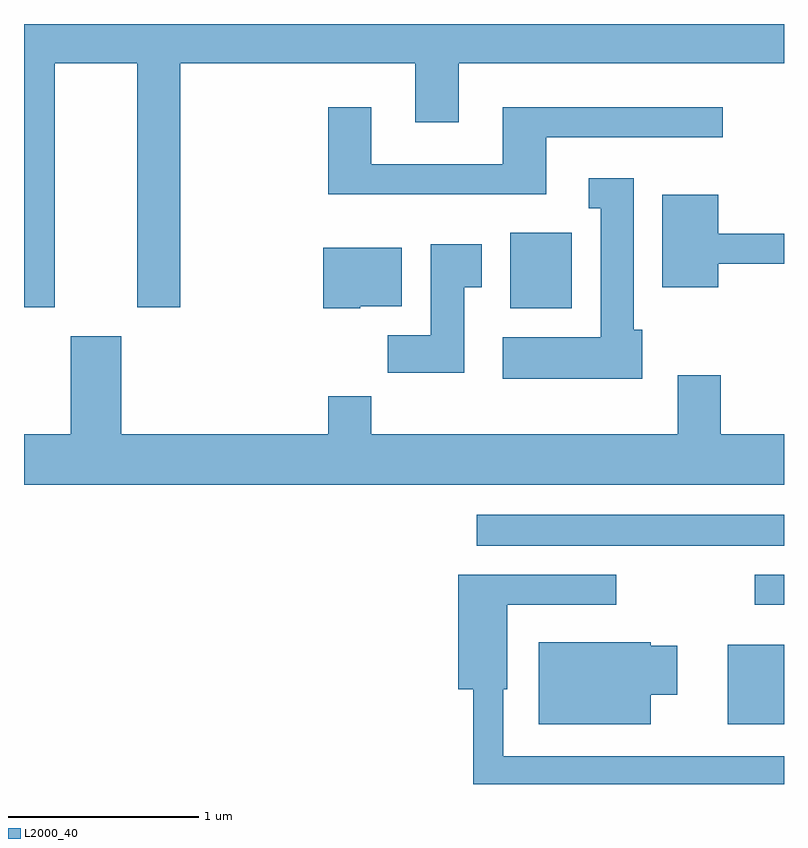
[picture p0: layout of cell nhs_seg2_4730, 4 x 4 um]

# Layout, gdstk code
import gdstk
lib = gdstk.Library(unit=1e-6, precision=1e-09)
def R(c, l, rs):  # rectangles x0, y0, x1, y1
    for r in rs: c.add(gdstk.rectangle(r[:2], r[2:], *l))
def P(c, l, *ps):  # polygons
    for p in ps: c.add(gdstk.Polygon(p, *l))
L2000_40 = (2000, 40)

nhs_seg2_4730 = lib.new_cell('nhs_seg2_4730')
R(nhs_seg2_4730, L2000_40, [(327.316,1098.116,327.611,1098.534), (327.458,1098.746,327.611,1098.904), (325.993,1099.056,327.611,1099.219), (326.171,1100.306,326.494,1100.704)])
P(nhs_seg2_4730, L2000_40, [(323.774,1101.596),(324.206,1101.596),(324.206,1100.311),(324.434,1100.311),(324.434,1101.596),(325.671,1101.596),(325.671,1101.286),(325.899,1101.286),(325.899,1101.596),(327.611,1101.596),(327.611,1101.802),(323.611,1101.802),(323.611,1100.311),(323.774,1100.311)],
  [(326.359,1101.206),(327.288,1101.206),(327.288,1101.364),(326.131,1101.364),(326.131,1101.064),(325.439,1101.064),(325.439,1101.364),(325.211,1101.364),(325.211,1100.906),(326.359,1100.906)],
  [(326.864,1100.194),(326.819,1100.194),(326.819,1100.989),(326.583,1100.989),(326.583,1100.831),(326.646,1100.831),(326.646,1100.154),(326.131,1100.154),(326.131,1099.936),(326.864,1099.936)],
  [(327.264,1100.541),(327.611,1100.541),(327.611,1100.699),(327.264,1100.699),(327.264,1100.904),(326.971,1100.904),(326.971,1100.416),(327.264,1100.416)],
  [(325.929,1100.416),(326.019,1100.416),(326.019,1100.644),(325.751,1100.644),(325.751,1100.164),(325.526,1100.164),(325.526,1099.966),(325.929,1099.966)],
  [(325.38,1100.316),(325.599,1100.316),(325.599,1100.624),(325.186,1100.624),(325.186,1100.306),(325.38,1100.306)],
  [(327.611,1099.644),(327.279,1099.644),(327.279,1099.954),(327.051,1099.954),(327.051,1099.644),(325.439,1099.644),(325.439,1099.844),(325.211,1099.844),(325.211,1099.644),(324.124,1099.644),(324.124,1100.159),(323.856,1100.159),(323.856,1099.644),(323.611,1099.644),(323.611,1099.376),(327.611,1099.376)],
  [(327.611,1097.949),(326.134,1097.949),(326.134,1098.301),(326.154,1098.301),(326.154,1098.746),(326.728,1098.746),(326.728,1098.904),(325.896,1098.904),(325.896,1098.301),(325.976,1098.301),(325.976,1097.802),(327.611,1097.802)],
  [(326.909,1098.271),(327.049,1098.271),(327.049,1098.529),(326.909,1098.529),(326.909,1098.549),(326.321,1098.549),(326.321,1098.116),(326.909,1098.116)])

lib.write_gds('nhs_seg2_4730.gds')
